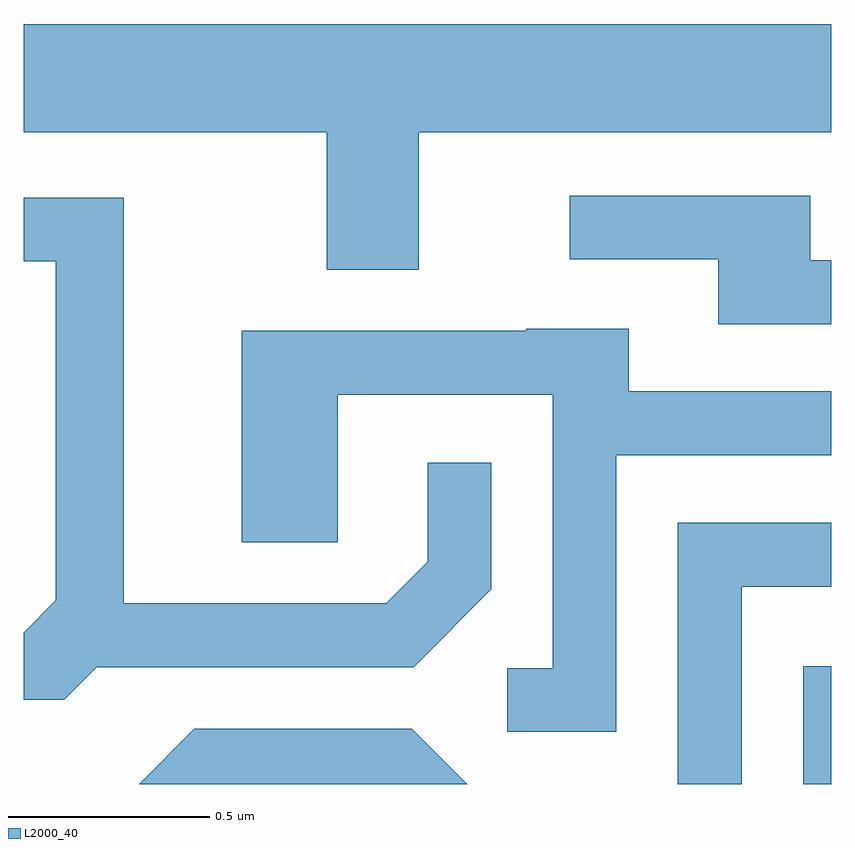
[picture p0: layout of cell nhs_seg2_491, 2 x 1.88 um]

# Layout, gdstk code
import gdstk
lib = gdstk.Library(unit=1e-6, precision=1e-09)
def R(c, l, rs):  # rectangles x0, y0, x1, y1
    for r in rs: c.add(gdstk.rectangle(r[:2], r[2:], *l))
def P(c, l, *ps):  # polygons
    for p in ps: c.add(gdstk.Polygon(p, *l))
L2000_40 = (2000, 40)

nhs_seg2_491 = lib.new_cell('nhs_seg2_491')
R(nhs_seg2_491, L2000_40, [(190.541,1057.802,190.611,1058.094)])
P(nhs_seg2_491, L2000_40, [(189.589,1059.416),(190.611,1059.416),(190.611,1059.684),(188.611,1059.684),(188.611,1059.416),(189.361,1059.416),(189.361,1059.076),(189.589,1059.076)],
  [(190.611,1059.099),(190.559,1059.099),(190.559,1059.259),(189.963,1059.259),(189.963,1059.101),(190.331,1059.101),(190.331,1058.941),(190.611,1058.941)],
  [(188.792,1058.091),(189.577,1058.091),(189.769,1058.284),(189.769,1058.598),(189.611,1058.598),(189.611,1058.352),(189.509,1058.249),(188.859,1058.249),(188.859,1059.254),(188.611,1059.254),(188.611,1059.096),(188.691,1059.096),(188.691,1058.257),(188.611,1058.176),(188.611,1058.011),(188.712,1058.011)],
  [(190.079,1058.616),(190.611,1058.616),(190.611,1058.774),(190.109,1058.774),(190.109,1058.929),(189.855,1058.929),(189.855,1058.924),(189.151,1058.924),(189.151,1058.401),(189.389,1058.401),(189.389,1058.766),(189.921,1058.766),(189.921,1058.089),(189.808,1058.089),(189.808,1057.931),(190.079,1057.931)],
  [(190.389,1058.291),(190.611,1058.291),(190.611,1058.449),(190.231,1058.449),(190.231,1057.802),(190.389,1057.802)],
  [(189.572,1057.939),(189.034,1057.939),(188.897,1057.802),(189.709,1057.802)])

lib.write_gds('nhs_seg2_491.gds')
